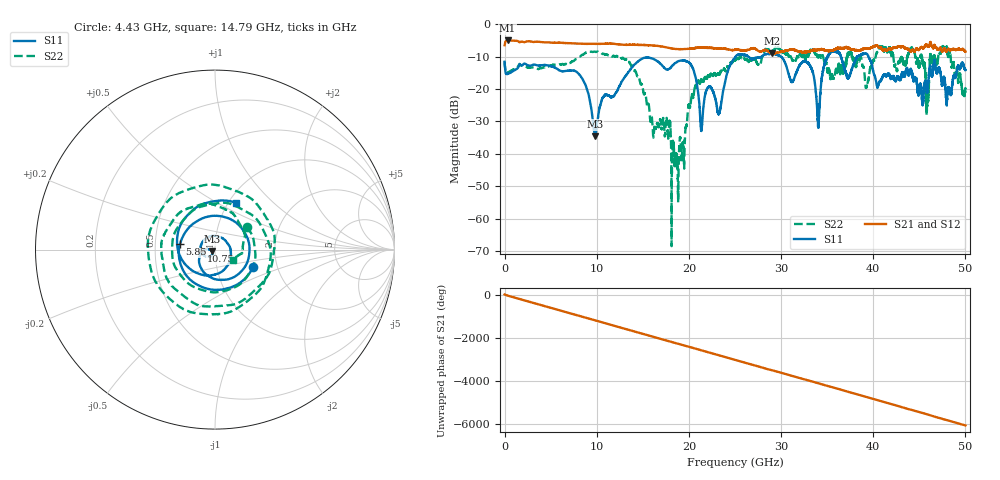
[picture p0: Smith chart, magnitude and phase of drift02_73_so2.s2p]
!Created with skrf (http://scikit-rf.org).
# Hz S RI R 50.0
!freq ReS11 ImS11 ReS21 ImS21 ReS12 ImS12 ReS22 ImS22
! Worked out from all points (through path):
!   10001 points, 300 kHz to 50 GHz, reference 50 ohm
!   highest |S21| = -5.04 dB at 325.3 MHz (marker M1); lowest = -9.0 dB at 29.01 GHz (marker M2)
!   group delay of S21, straight-line fit = 336 ps
!   lowest |S11| = -34.5 dB at 9.815 GHz (marker M3), VSWR 1.04, Z = 48.4 - j0.901 ohm
!   |S11| at or under -10 dB: start of sweep to 25.07 GHz; 29.98 GHz to 35.03 GHz (5.047 GHz wide, 15.5 % of centre); 39.48 GHz to end of sweep (the widest 3 of 9)
!   |S22| runs from -68.5 to -6.7 dB; largest |S21 - S12| = 0.024
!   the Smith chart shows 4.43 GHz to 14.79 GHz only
!   S11 on the Smith chart (normalised r, x): 4.43 GHz: 1.50, -0.31; 5.85 GHz: 0.67, +0.04; 10.75 GHz: 0.86, -0.02; 14.79 GHz: 1.09, +0.62
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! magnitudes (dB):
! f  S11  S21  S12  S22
! 300 kHz  -11.6  -6.5  -6.4  -11.5
! 325.3 MHz  -15.4  -5.0  -5.0  -15.0
! 4.43 GHz  -12.6  -5.6  -5.6  -13.3
! 5.85 GHz  -14.1  -5.7  -5.7  -12.5
! 8.335 GHz  -16.4  -6.1  -6.0  -9.6
! 9.815 GHz  -34.5  -6.1  -6.1  -8.5
! 10.75 GHz  -22.3  -6.0  -6.1  -9.2
! 14.79 GHz  -10.9  -6.4  -6.4  -18.5
! 16.67 GHz  -11.6  -6.7  -6.7  -31.3
! 18.67 GHz  -11.8  -7.7  -7.7  -40.7
! 20.37 GHz  -13.3  -7.5  -7.5  -21.8
! 21.37 GHz  -32.1  -7.2  -7.2  -16.9
! 23.31 GHz  -27.2  -7.5  -7.6  -15.6
! 25 GHz  -10.3  -7.9  -7.9  -11.2
! 29.01 GHz  -9.1  -9.0  -9.0  -8.2
! 33.34 GHz  -14.0  -8.0  -8.2  -8.0
! 34.02 GHz  -31.4  -7.9  -8.0  -10.4
! 35.52 GHz  -8.5  -8.2  -8.1  -15.6
! 41.67 GHz  -15.3  -7.7  -7.8  -7.5
! 45.86 GHz  -21.0  -6.6  -6.7  -21.3
! 47.77 GHz  -17.7  -7.6  -7.6  -7.4
! 50 GHz  -14.2  -8.5  -8.4  -20.0
